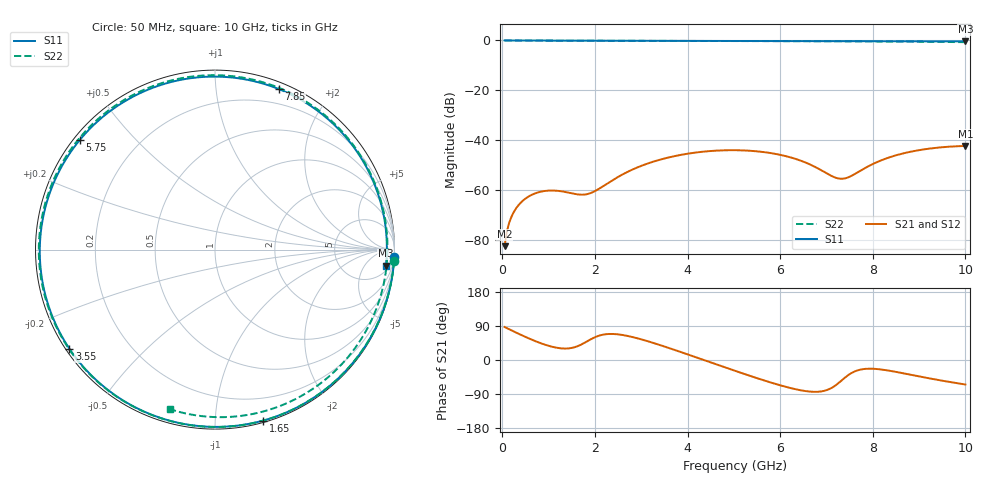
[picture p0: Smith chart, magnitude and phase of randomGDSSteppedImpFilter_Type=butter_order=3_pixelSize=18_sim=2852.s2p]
! freq	dB(S11)	phase(S11)	dB(S12)	phase(S12)
!  dB(S21)	phase(S21)	dB(S22)	phase(S22)
!S-par simulation data
#  GHz  S  DB  R 50
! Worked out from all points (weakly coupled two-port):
!   200 points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, 50 MHz to 10 GHz, reference 50 ohm
!   highest |S21| = -42.34 dB at 10 GHz (marker M1); lowest = -82.6 dB at 50 MHz (marker M2)
!   lowest |S11| = -0.4 dB at 10 GHz (marker M3), VSWR 44.91, Z = 417 - j872 ohm
!   |S11| at or under -10 dB: nowhere
!   |S22| runs from -0.7 to 0.0 dB; largest |S21 - S12| = 0
!   S11 on the Smith chart (normalised r, x): 50 MHz: 0, -48; 1.65 GHz: 0.01, -1.32; 3.55 GHz: 0.01, -0.31; 5.75 GHz: 0.02, +0.35; 7.85 GHz: 0.06, +1.47; 10 GHz: 8, -17
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0.05  -0.00 -2.4  -82.57 87.0  -82.57 87.0  -0.00 -3.7
0.15  -0.01 -7.1  -73.10 81.0  -73.10 81.0  -0.02 -11.1
0.25  -0.02 -11.8  -68.81 75.1  -68.81 75.1  -0.03 -18.4
0.55  -0.03 -25.7  -62.84 58.2  -62.84 58.2  -0.06 -39.8
1.1  -0.06 -50.6  -60.24 34.3  -60.24 34.3  -0.09 -76.4
1.65  -0.09 -74.2  -61.84 37.7  -61.84 37.7  -0.12 -108.6
1.75  -0.09 -78.4  -61.90 43.7  -61.90 43.7  -0.12 -114.0
2.15  -0.11 -94.5  -58.83 66.2  -58.83 66.2  -0.13 -134.3
2.55  -0.13 -109.9  -54.25 66.9  -54.25 66.9  -0.14 -153.0
2.95  -0.14 -124.6  -50.71 56.2  -50.71 56.2  -0.15 -170.6
3.4  -0.16 -140.6  -47.88 39.6  -47.88 39.6  -0.17 170.5
3.55  -0.16 -145.7  -47.15 33.6  -47.15 33.6  -0.17 164.3
4.35  -0.20 -172.7  -44.62 0.1  -44.62 0.1  -0.20 131.7
5.05  -0.23 164.2  -44.06 -29.5  -44.06 -29.5  -0.24 102.6
5.75  -0.27 141.0  -45.07 -57.6  -45.07 -57.6  -0.27 72.5
6.2  -0.28 125.8  -46.81 -73.3  -46.81 -73.3  -0.29 52.5
6.7  -0.30 108.7  -50.26 -83.9  -50.26 -83.9  -0.31 30.2
7.3  -0.32 87.7  -55.51 -56.9  -55.51 -56.9  -0.34 3.4
7.85  -0.33 68.3  -51.05 -23.3  -51.05 -23.3  -0.38 -20.5
8.35  -0.34 50.6  -46.97 -28.1  -46.97 -28.1  -0.42 -41.5
9.15  -0.35 22.7  -43.60 -46.8  -43.60 -46.8  -0.53 -73.4
10  -0.39 -5.3  -42.34 -64.7  -42.34 -64.7  -0.69 -105.9
